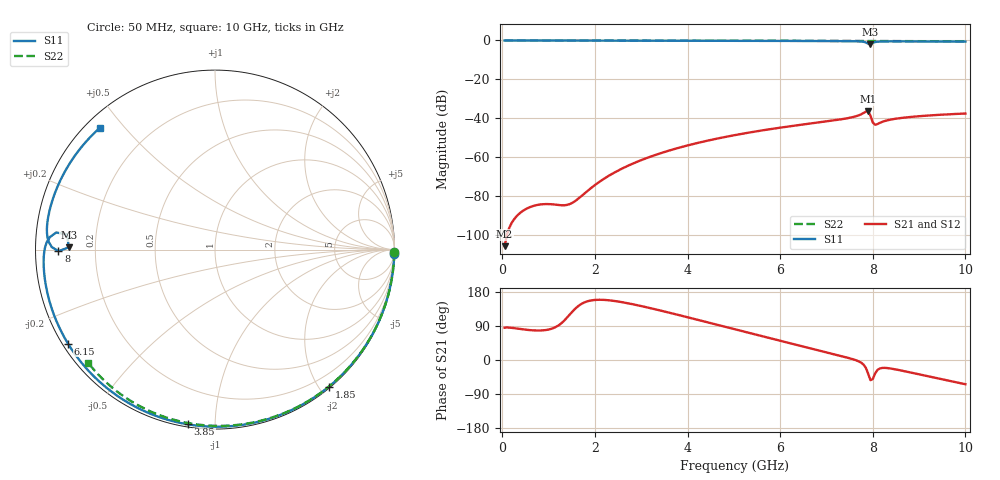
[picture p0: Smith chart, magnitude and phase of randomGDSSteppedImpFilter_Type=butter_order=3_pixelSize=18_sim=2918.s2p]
! freq	dB(S11)	phase(S11)	dB(S12)	phase(S12)
!  dB(S21)	phase(S21)	dB(S22)	phase(S22)
!S-par simulation data
#  GHz  S  DB  R 50
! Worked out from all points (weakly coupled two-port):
!   200 points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, 50 MHz to 10 GHz, reference 50 ohm
!   highest |S21| = -36.46 dB at 7.9 GHz (marker M1); lowest = -105.7 dB at 50 MHz (marker M2)
!   lowest |S11| = -1.8 dB at 7.95 GHz (marker M3), VSWR 9.80, Z = 5.1 + j0.377 ohm
!   |S11| at or under -10 dB: nowhere
!   |S22| runs from -0.5 to 0.0 dB; largest |S21 - S12| = 0
!   S11 on the Smith chart (normalised r, x): 50 MHz: 2, -85; 1.85 GHz: 0.02, -2.13; 3.85 GHz: 0.01, -0.86; 6.15 GHz: 0.02, -0.29; 8 GHz: 0.07, -0.00; 10 GHz: 0.04, +0.43
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0.05  -0.00 -1.3  -105.75 85.2  -105.75 85.2  -0.00 -0.8
0.85  -0.03 -23.6  -84.22 78.0  -84.22 78.0  -0.02 -13.5
1.7  -0.06 -46.4  -80.17 147.3  -80.17 147.3  -0.03 -26.8
1.75  -0.06 -47.7  -79.16 150.7  -79.16 150.7  -0.04 -27.6
1.85  -0.06 -50.3  -77.15 155.3  -77.15 155.3  -0.04 -29.1
2.15  -0.07 -58.0  -71.81 158.9  -71.81 158.9  -0.04 -33.7
2.5  -0.08 -66.9  -66.90 154.3  -66.90 154.3  -0.05 -39.0
2.9  -0.10 -76.7  -62.48 145.0  -62.48 145.0  -0.06 -45.1
3.4  -0.11 -88.5  -58.11 131.0  -58.11 131.0  -0.07 -52.4
3.85  -0.13 -98.8  -54.92 117.4  -54.92 117.4  -0.08 -59.0
5.05  -0.18 -124.8  -48.53 80.2  -48.53 80.2  -0.12 -75.8
6.15  -0.24 -147.4  -44.32 46.2  -44.32 46.2  -0.16 -90.5
6.7  -0.28 -158.6  -42.55 29.4  -42.55 29.4  -0.19 -97.7
7.65  -0.44 -179.4  -38.87 -1.3  -38.87 -1.3  -0.25 -109.6
7.8  -0.70 175.7  -37.32 -12.0  -37.32 -12.0  -0.26 -111.5
7.9  -1.64 174.1  -36.46 -36.1  -36.46 -36.1  -0.26 -112.8
7.95  -1.78 179.1  -38.68 -53.3  -38.68 -53.3  -0.27 -113.4
8  -1.18 -179.4  -42.17 -50.3  -42.17 -50.3  -0.28 -114.0
8.05  -0.82 179.1  -43.34 -35.7  -43.34 -35.7  -0.28 -114.6
8.35  -0.48 170.4  -40.86 -21.8  -40.86 -21.8  -0.30 -118.3
9.15  -0.51 152.5  -38.67 -41.9  -38.67 -41.9  -0.38 -128.0
10  -0.60 133.4  -37.56 -63.9  -37.56 -63.9  -0.47 -138.3
